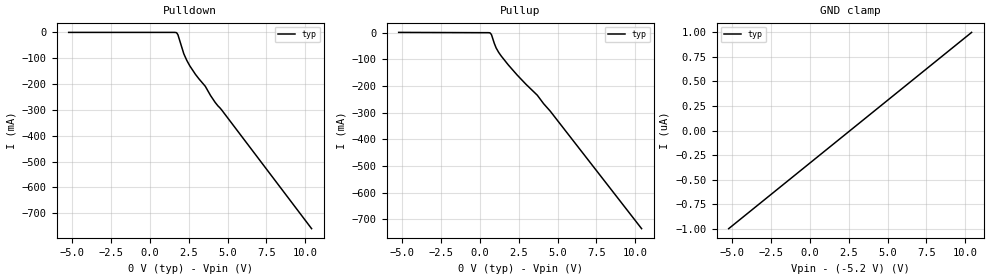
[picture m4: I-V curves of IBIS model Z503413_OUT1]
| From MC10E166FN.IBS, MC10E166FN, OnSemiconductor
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| (C) COPYRIGHT 1993-2000
| MENTOR GRAPHICS CORPORATION
| ICX STANDARD LIBRARY, ICX PROJECT MODELING,
| ICX CUSTOM MODELING, ICX VENDOR MODEL
| ALL RIGHTS RESERVED.
| THE FOLLOWING ARE TRADEMARKS OR SERVICE MARKS OF
| MENTOR GRAPHICS CORPORATION:ICX (R), ICX STANDARD
| LIBRARY(R), ICX PROJECT MODELING(R), ICX CUSTOM
| MODELING(R), qualityIBIS(TM), MODELVIEWER(TM),
| AND MODELEDITOR(TM)
| ALL COPIES OF SOFTWARE, INCLUDING BUT NOT LIMITED TO
| ANY MODIFICATIONS, ENHANCEMENTS OR DERIVATIVE WORKS,
| MUST CONTAIN ALL MENTOR GRAPHICS CORPORATION'S
| NOTICES AND LEGENDS, INCLUDING THOSE EMBEDDED IN
| SOFTWARE AND THOSE AFFIXED TO SOFTWARE MEDIUM
| AND CONTAINER, AS RECEIVED FROM MENTOR GRAPHICS
| CORPORATION.
| Model Application Version 1.89 2/18/99.
[Model] Z503413_OUT1
Model_type Output_ECL
Vref=-2.000V
Rref=50.00ohms
Cref=0.000F
Vmeas=-1.305V
C_comp 8.000pF NA NA
| variable typ   min   max
[Voltage Range] -5.200V NA NA
[POWER Clamp Reference] 0.000V NA NA
[Pullup Reference] 0.000V NA NA
[Pulldown Reference] 0.000V NA NA
[GND Clamp Reference] -5.200V NA NA
[GND Clamp]
-5.2V     -1uA       NA         NA
10.4V     1uA        NA         NA
[Pulldown]
-5.2V     110uA      NA         NA
1.739V    -1.897mA   NA         NA
1.816V    -9.103mA   NA         NA
2.192V    -82.47mA   NA         NA
2.383V    -108mA     NA         NA
2.579V    -129.5mA   NA         NA
2.944V    -162.6mA   NA         NA
3.572V    -208.4mA   NA         NA
3.913V    -244.5mA   NA         NA
4.201V    -270.3mA   NA         NA
4.614V    -299.2mA   NA         NA
10.4V     -759.5mA   NA         NA
[Pullup]
-5.2V     997.8uA    NA         NA
683.6mV   -1.575mA   NA         NA
761.3mV   -7.806mA   NA         NA
942.4mV   -40.44mA   NA         NA
1.06V     -57.56mA   NA         NA
1.387V    -87.8mA    NA         NA
2.408V    -158.9mA   NA         NA
3.705V    -234.9mA   NA         NA
4.108V    -266.5mA   NA         NA
4.536V    -294.7mA   NA         NA
10.4V     -735.3mA   NA         NA
[POWER Clamp]
-5.2V     0A         NA         NA
10.4V     0A         NA         NA
[Ramp]
| variable typ min max
dV/dt_r 602.6m/254.5p NA NA
dV/dt_f 602.6m/388.4p NA NA
R_load = 500.0Ohms
